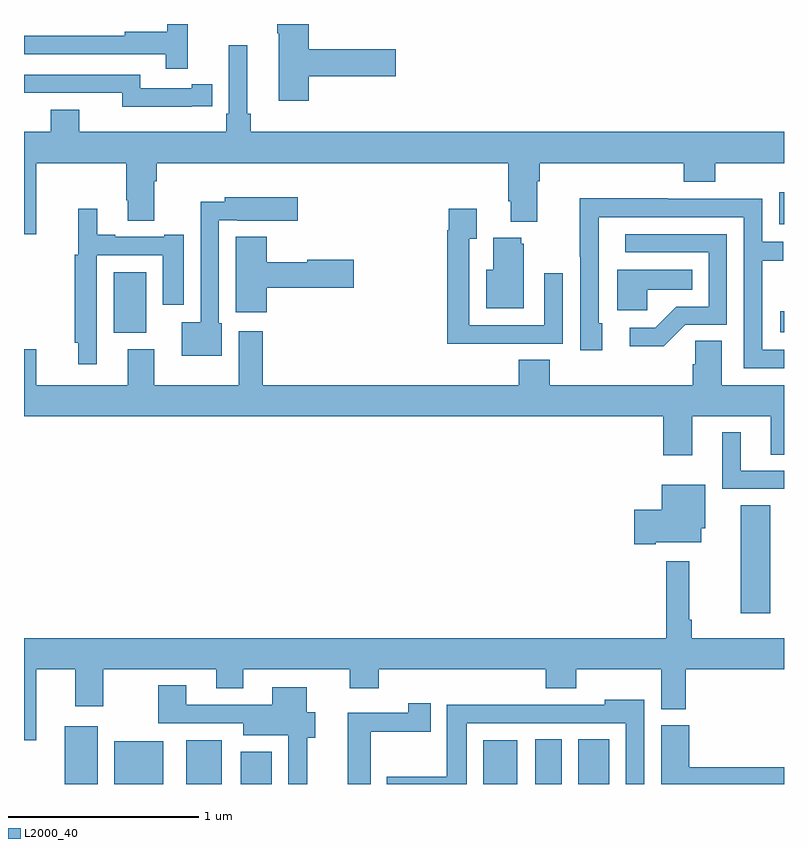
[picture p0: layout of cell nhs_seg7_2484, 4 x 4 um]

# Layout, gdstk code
import gdstk
lib = gdstk.Library(unit=1e-6, precision=1e-09)
def R(c, l, rs):  # rectangles x0, y0, x1, y1
    for r in rs: c.add(gdstk.rectangle(r[:2], r[2:], *l))
def P(c, l, *ps):  # polygons
    for p in ps: c.add(gdstk.Polygon(p, *l))
L2000_40 = (2000, 40)

nhs_seg7_2484 = lib.new_cell('nhs_seg7_2484')
R(nhs_seg7_2484, L2000_40, [(273.215,1012,273.388,1012.303), (273.476,1012,273.733,1012.225), (273.854,1012,274.042,1012.231), (274.142,1012,274.303,1012.171), (275.417,1012,275.596,1012.231), (275.69,1012,275.83,1012.235), (275.918,1012,276.079,1012.235), (276.773,1012.899,276.928,1013.468), (273.473,1014.374,273.643,1014.694), (276.981,1014.377,277,1014.487), (276.975,1014.945,277,1015.114)])
P(nhs_seg7_2484, L2000_40, [(274.499,1015.726),(274.957,1015.726),(274.957,1015.868),(274.499,1015.868),(274.499,1016),(274.333,1016),(274.333,1015.951),(274.34,1015.951),(274.34,1015.596),(274.499,1015.596)],
  [(273.863,1016),(273.753,1016),(273.753,1015.958),(273.529,1015.958),(273.529,1015.938),(273,1015.938),(273,1015.842),(273.745,1015.842),(273.745,1015.764),(273.863,1015.764)],
  [(273.064,1015.268),(273.538,1015.268),(273.538,1015.072),(273.545,1015.072),(273.545,1014.964),(273.685,1014.964),(273.685,1015.172),(273.698,1015.172),(273.698,1015.268),(275.549,1015.268),(275.549,1015.066),(275.561,1015.066),(275.561,1014.959),(275.701,1014.959),(275.701,1015.172),(275.714,1015.172),(275.714,1015.268),(276.473,1015.268),(276.473,1015.169),(276.638,1015.169),(276.638,1015.268),(277,1015.268),(277,1015.432),(274.193,1015.432),(274.193,1015.528),(274.174,1015.528),(274.174,1015.888),(274.077,1015.888),(274.077,1015.528),(274.064,1015.528),(274.064,1015.432),(273.292,1015.432),(273.292,1015.549),(273.14,1015.549),(273.14,1015.432),(273,1015.432),(273,1014.894),(273.064,1014.894)],
  [(273.884,1015.566),(273.992,1015.566),(273.992,1015.682),(273.884,1015.682),(273.884,1015.662),(273.612,1015.662),(273.612,1015.734),(273,1015.734),(273,1015.637),(273.056,1015.637),(273.056,1015.638),(273.516,1015.638),(273.516,1015.565),(273.884,1015.565)],
  [(274.042,1014.426),(274.026,1014.426),(274.026,1014.966),(274.123,1014.966),(274.123,1014.965),(274.441,1014.965),(274.441,1015.087),(274.056,1015.087),(274.056,1015.064),(273.93,1015.064),(273.93,1014.43),(273.83,1014.43),(273.83,1014.254),(274.042,1014.254)],
  [(277,1014.285),(276.885,1014.285),(276.885,1014.754),(276.995,1014.754),(276.995,1014.855),(276.885,1014.855),(276.885,1015.08),(276.389,1015.08),(276.389,1015.082),(275.926,1015.082),(275.926,1014.775),(275.928,1014.775),(275.928,1014.282),(276.043,1014.282),(276.043,1014.426),(276.024,1014.426),(276.024,1014.73),(276.025,1014.73),(276.025,1014.984),(276.789,1014.984),(276.789,1014.189),(277,1014.189)],
  [(273.384,1014.783),(273.731,1014.783),(273.731,1014.522),(273.841,1014.522),(273.841,1014.892),(273.737,1014.892),(273.737,1014.879),(273.481,1014.879),(273.481,1014.892),(273.385,1014.892),(273.385,1015.027),(273.286,1015.027),(273.286,1014.786),(273.268,1014.786),(273.268,1014.322),(273.286,1014.322),(273.286,1014.21),(273.384,1014.21)],
  [(275.519,1014.318),(275.835,1014.318),(275.835,1014.688),(275.739,1014.688),(275.739,1014.414),(275.343,1014.414),(275.343,1014.871),(275.383,1014.871),(275.383,1015.027),(275.235,1015.027),(275.235,1014.914),(275.227,1014.914),(275.227,1014.317),(275.519,1014.317)],
  [(276.48,1014.417),(276.699,1014.417),(276.699,1014.894),(276.165,1014.894),(276.165,1014.798),(276.603,1014.798),(276.603,1014.513),(276.434,1014.513),(276.323,1014.402),(276.189,1014.402),(276.189,1014.305),(276.367,1014.305)],
  [(274.277,1014.611),(274.735,1014.611),(274.735,1014.758),(274.491,1014.758),(274.491,1014.745),(274.277,1014.745),(274.277,1014.88),(274.115,1014.88),(274.115,1014.483),(274.277,1014.483)],
  [(275.629,1014.843),(275.618,1014.843),(275.618,1014.874),(275.471,1014.874),(275.471,1014.706),(275.432,1014.706),(275.432,1014.503),(275.629,1014.503)],
  [(276.279,1014.602),(276.518,1014.602),(276.518,1014.706),(276.122,1014.706),(276.122,1014.494),(276.279,1014.494)],
  [(276.517,1013.936),(276.929,1013.936),(276.929,1013.734),(277,1013.734),(277,1014.1),(276.673,1014.1),(276.673,1014.332),(276.534,1014.332),(276.534,1014.209),(276.521,1014.209),(276.521,1014.1),(275.768,1014.1),(275.768,1014.233),(275.603,1014.233),(275.603,1014.1),(274.256,1014.1),(274.256,1014.382),(274.13,1014.382),(274.13,1014.1),(273.685,1014.1),(273.685,1014.289),(273.545,1014.289),(273.545,1014.1),(273.064,1014.1),(273.064,1014.289),(273,1014.289),(273,1013.936),(276.365,1013.936),(276.365,1013.73),(276.517,1013.73)],
  [(277,1013.649),(276.772,1013.649),(276.772,1013.851),(276.674,1013.851),(276.674,1013.553),(277,1013.553)],
  [(276.325,1013.273),(276.565,1013.273),(276.565,1013.346),(276.586,1013.346),(276.586,1013.575),(276.356,1013.575),(276.356,1013.444),(276.213,1013.444),(276.213,1013.261),(276.325,1013.261)],
  [(273,1012.23),(273.064,1012.23),(273.064,1012.604),(273.269,1012.604),(273.269,1012.41),(273.417,1012.41),(273.417,1012.604),(274.013,1012.604),(274.013,1012.505),(274.153,1012.505),(274.153,1012.604),(274.715,1012.604),(274.715,1012.505),(274.868,1012.505),(274.868,1012.604),(275.747,1012.604),(275.747,1012.505),(275.907,1012.505),(275.907,1012.604),(276.353,1012.604),(276.353,1012.393),(276.482,1012.393),(276.482,1012.604),(277,1012.604),(277,1012.768),(276.515,1012.768),(276.515,1012.864),(276.5,1012.864),(276.5,1013.173),(276.379,1013.173),(276.379,1012.768),(273,1012.768)],
  [(274.49,1012.244),(274.534,1012.244),(274.534,1012.378),(274.489,1012.378),(274.489,1012.51),(274.307,1012.51),(274.307,1012.416),(273.853,1012.416),(273.853,1012.519),(273.706,1012.519),(273.706,1012.32),(274.154,1012.32),(274.154,1012.256),(274.392,1012.256),(274.392,1012),(274.49,1012)],
  [(275.329,1012.32),(276.168,1012.32),(276.168,1012),(276.264,1012),(276.264,1012.444),(276.057,1012.444),(276.057,1012.416),(275.663,1012.416),(275.663,1012.418),(275.225,1012.418),(275.225,1012.038),(274.91,1012.038),(274.91,1012),(275.329,1012)],
  [(274.825,1012.276),(275.14,1012.276),(275.14,1012.426),(275.023,1012.426),(275.023,1012.375),(274.703,1012.375),(274.703,1012),(274.825,1012)],
  [(277,1012.088),(276.5,1012.088),(276.5,1012.308),(276.353,1012.308),(276.353,1012),(277,1012)])

lib.write_gds('nhs_seg7_2484.gds')
